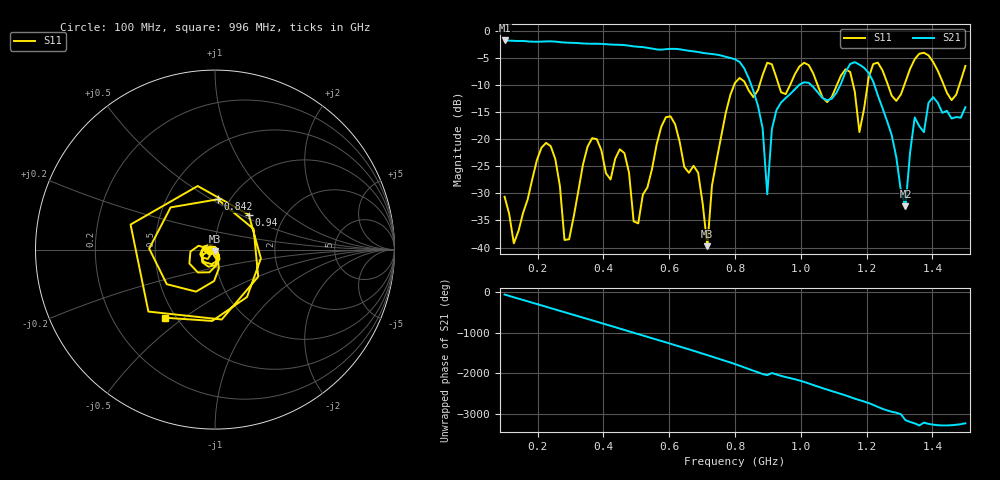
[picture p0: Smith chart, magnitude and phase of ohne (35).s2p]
! NanoVNA-App
! Date: 2025-09-26 09:55:40
! Start: 100MHz Stop: 1,5GHz Points: 101
! S-Parameter data: F S11 S21 S12 S22
# Hz S RI R 50
!  Frequency  S11_Real  S11_Imag  S21_Real  S21_Imag  S12_Real  S12_Imag  S22_Real  S22_Imag
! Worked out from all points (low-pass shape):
!   101 points, 100 MHz to 1.5 GHz, reference 50 ohm
!   highest |S21| = -1.79 dB at 100 MHz (marker M1); lowest = -32.4 dB at 1.318 GHz (marker M2)
!   |S21| within 3 dB of the highest: start of sweep to 771.2 MHz
!   lowest |S11| = -39.7 dB at 716 MHz (marker M3), VSWR 1.02, Z = 49.8 - j1.01 ohm
!   |S11| at or under -10 dB: start of sweep to 797.5 MHz; 833.4 MHz to 874.7 MHz (41.24 MHz wide, 4.83 % of centre); 1.051 GHz to 1.11 GHz (58.77 MHz wide, 5.44 % of centre) (the widest 3 of 7)
!   S12 and S22 are empty: the file has one direction only
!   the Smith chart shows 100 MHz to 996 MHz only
!   S11 on the Smith chart (normalised r, x): 100 MHz: 0.94, -0.01; 842 MHz: 0.88, +0.53; 940 MHz: 1.33, +0.56; 996 MHz: 0.44, -0.43
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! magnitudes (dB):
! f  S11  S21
! 100 MHz  -30.6  -1.8
! 128 MHz  -39.2  -1.9
! 226 MHz  -20.7  -2.0
! 296 MHz  -38.5  -2.2
! 338 MHz  -24.7  -2.4
! 464 MHz  -22.6  -2.6
! 506 MHz  -35.5  -3.0
! 576 MHz  -17.7  -3.5
! 688 MHz  -26.2  -3.9
! 716 MHz  -39.7  -4.2
! 800 MHz  -9.6  -5.3
! 842 MHz  -11.0  -8.8
! 898 MHz  -5.9  -30.2
! 940 MHz  -11.3  -13.2
! 996 MHz  -6.6  -9.9
! 1.038 GHz  -7.9  -10.4
! 1.178 GHz  -18.7  -6.2
! 1.22 GHz  -6.1  -9.4
! 1.276 GHz  -12.0  -19.2
! 1.318 GHz  -9.4  -32.4
! 1.346 GHz  -5.2  -16.0
! 1.5 GHz  -6.5  -14.1
